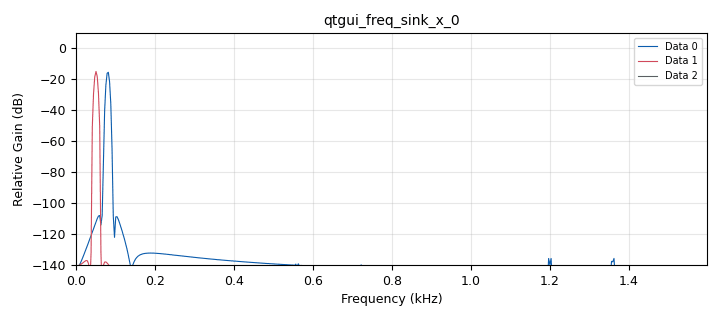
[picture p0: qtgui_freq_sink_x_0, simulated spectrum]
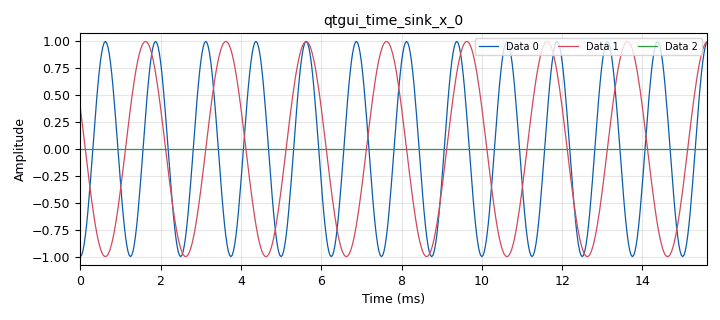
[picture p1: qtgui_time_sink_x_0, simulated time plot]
<?xml version='1.0' encoding='utf-8'?>
<?grc format='1' created='3.7.11'?>
<flow_graph>
<block>
<key>options</key>
<param><key>id</key><value>top_block</value></param>
<param><key>generate_options</key><value>qt_gui</value></param>
</block>
<block>
<key>variable_qtgui_range</key>
<param><key>id</key><value>audio_volume</value></param>
<param><key>value</key><value>0.0</value></param>
<param><key>orient</key><value>Qt.Horizontal</value></param>
<param><key>start</key><value>0.0</value></param>
<param><key>step</key><value>0.01</value></param>
<param><key>stop</key><value>1.0</value></param>
</block>
<block>
<key>variable_qtgui_check_box</key>
<param><key>id</key><value>enable_a</value></param>
<param><key>value</key><value>True</value></param>
<param><key>false</key><value>False</value></param>
<param><key>label</key><value>Enable freq A</value></param>
<param><key>true</key><value>True</value></param>
<param><key>type</key><value>bool</value></param>
</block>
<block>
<key>variable_qtgui_check_box</key>
<param><key>id</key><value>enable_b</value></param>
<param><key>value</key><value>True</value></param>
<param><key>false</key><value>False</value></param>
<param><key>label</key><value>Enable freq B</value></param>
<param><key>true</key><value>True</value></param>
<param><key>type</key><value>bool</value></param>
</block>
<block>
<key>variable_qtgui_check_box</key>
<param><key>id</key><value>enable_mix</value></param>
<param><key>value</key><value>0.0</value></param>
<param><key>false</key><value>0.0</value></param>
<param><key>label</key><value>Enable mixer output</value></param>
<param><key>true</key><value>1.0</value></param>
<param><key>type</key><value>real</value></param>
</block>
<block>
<key>variable_qtgui_range</key>
<param><key>id</key><value>freq_A</value></param>
<param><key>value</key><value>800</value></param>
<param><key>orient</key><value>Qt.Horizontal</value></param>
<param><key>start</key><value>10</value></param>
<param><key>step</key><value>10</value></param>
<param><key>stop</key><value>samp_rate / 2</value></param>
</block>
<block>
<key>variable_qtgui_range</key>
<param><key>id</key><value>freq_B</value></param>
<param><key>value</key><value>500</value></param>
<param><key>orient</key><value>Qt.Horizontal</value></param>
<param><key>start</key><value>10</value></param>
<param><key>step</key><value>10</value></param>
<param><key>stop</key><value>samp_rate / 2</value></param>
</block>
<block>
<key>variable</key>
<param><key>id</key><value>samp_rate</value></param>
<param><key>value</key><value>32000</value></param>
</block>
<block>
<key>analog_sig_source_x</key>
<param><key>id</key><value>analog_sig_source_x_0</value></param>
<param><key>amp</key><value>1</value></param>
<param><key>freq</key><value>freq_A</value></param>
<param><key>offset</key><value>0</value></param>
<param><key>type</key><value>float</value></param>
<param><key>samp_rate</key><value>samp_rate</value></param>
<param><key>waveform</key><value>analog.GR_COS_WAVE</value></param>
</block>
<block>
<key>analog_sig_source_x</key>
<param><key>id</key><value>analog_sig_source_x_0_0</value></param>
<param><key>amp</key><value>1</value></param>
<param><key>freq</key><value>freq_B</value></param>
<param><key>offset</key><value>0</value></param>
<param><key>type</key><value>float</value></param>
<param><key>samp_rate</key><value>samp_rate</value></param>
<param><key>waveform</key><value>analog.GR_COS_WAVE</value></param>
</block>
<block>
<key>audio_sink</key>
<param><key>id</key><value>audio_sink_0</value></param>
<param><key>samp_rate</key><value>samp_rate</value></param>
</block>
<block>
<key>blocks_multiply_const_vxx</key>
<param><key>id</key><value>blocks_multiply_const_vxx_0</value></param>
<param><key>const</key><value>enable_mix</value></param>
<param><key>type</key><value>float</value></param>
</block>
<block>
<key>blocks_multiply_const_vxx</key>
<param><key>id</key><value>blocks_multiply_const_vxx_0_0</value></param>
<param><key>const</key><value>enable_a</value></param>
<param><key>type</key><value>float</value></param>
</block>
<block>
<key>blocks_multiply_const_vxx</key>
<param><key>id</key><value>blocks_multiply_const_vxx_0_0_0</value></param>
<param><key>const</key><value>enable_b</value></param>
<param><key>type</key><value>float</value></param>
</block>
<block>
<key>blocks_multiply_const_vxx</key>
<param><key>id</key><value>blocks_multiply_const_vxx_0_1</value></param>
<param><key>const</key><value>audio_volume</value></param>
<param><key>type</key><value>float</value></param>
</block>
<block>
<key>blocks_multiply_xx</key>
<param><key>id</key><value>blocks_multiply_xx_0</value></param>
<param><key>type</key><value>float</value></param>
</block>
<block>
<key>qtgui_freq_sink_x</key>
<param><key>id</key><value>qtgui_freq_sink_x_0</value></param>
<param><key>bw</key><value>samp_rate / 10.0</value></param>
<param><key>fc</key><value>0</value></param>
<param><key>fftsize</key><value>1024</value></param>
<param><key>label2</key><value></value></param>
<param><key>label3</key><value></value></param>
<param><key>nconnections</key><value>3</value></param>
<param><key>showports</key><value>True</value></param>
<param><key>freqhalf</key><value>False</value></param>
<param><key>type</key><value>float</value></param>
<param><key>wintype</key><value>firdes.WIN_BLACKMAN_hARRIS</value></param>
</block>
<block>
<key>qtgui_time_sink_x</key>
<param><key>id</key><value>qtgui_time_sink_x_0</value></param>
<param><key>color1</key><value>"blue"</value></param>
<param><key>label1</key><value></value></param>
<param><key>color2</key><value>"red"</value></param>
<param><key>label2</key><value></value></param>
<param><key>color3</key><value>"green"</value></param>
<param><key>label3</key><value></value></param>
<param><key>nconnections</key><value>3</value></param>
<param><key>size</key><value>500</value></param>
<param><key>srate</key><value>samp_rate</value></param>
<param><key>type</key><value>float</value></param>
</block>
<connection><source_block_id>analog_sig_source_x_0</source_block_id><sink_block_id>blocks_multiply_const_vxx_0_0</sink_block_id><source_key>0</source_key><sink_key>0</sink_key></connection>
<connection><source_block_id>analog_sig_source_x_0_0</source_block_id><sink_block_id>blocks_multiply_const_vxx_0_0_0</sink_block_id><source_key>0</source_key><sink_key>0</sink_key></connection>
<connection><source_block_id>blocks_multiply_const_vxx_0</source_block_id><sink_block_id>blocks_multiply_const_vxx_0_1</sink_block_id><source_key>0</source_key><sink_key>0</sink_key></connection>
<connection><source_block_id>blocks_multiply_const_vxx_0</source_block_id><sink_block_id>qtgui_freq_sink_x_0</sink_block_id><source_key>0</source_key><sink_key>2</sink_key></connection>
<connection><source_block_id>blocks_multiply_const_vxx_0</source_block_id><sink_block_id>qtgui_time_sink_x_0</sink_block_id><source_key>0</source_key><sink_key>2</sink_key></connection>
<connection><source_block_id>blocks_multiply_const_vxx_0_0</source_block_id><sink_block_id>blocks_multiply_xx_0</sink_block_id><source_key>0</source_key><sink_key>0</sink_key></connection>
<connection><source_block_id>blocks_multiply_const_vxx_0_0</source_block_id><sink_block_id>qtgui_freq_sink_x_0</sink_block_id><source_key>0</source_key><sink_key>0</sink_key></connection>
<connection><source_block_id>blocks_multiply_const_vxx_0_0</source_block_id><sink_block_id>qtgui_time_sink_x_0</sink_block_id><source_key>0</source_key><sink_key>0</sink_key></connection>
<connection><source_block_id>blocks_multiply_const_vxx_0_0_0</source_block_id><sink_block_id>blocks_multiply_xx_0</sink_block_id><source_key>0</source_key><sink_key>1</sink_key></connection>
<connection><source_block_id>blocks_multiply_const_vxx_0_0_0</source_block_id><sink_block_id>qtgui_freq_sink_x_0</sink_block_id><source_key>0</source_key><sink_key>1</sink_key></connection>
<connection><source_block_id>blocks_multiply_const_vxx_0_0_0</source_block_id><sink_block_id>qtgui_time_sink_x_0</sink_block_id><source_key>0</source_key><sink_key>1</sink_key></connection>
<connection><source_block_id>blocks_multiply_const_vxx_0_1</source_block_id><sink_block_id>audio_sink_0</sink_block_id><source_key>0</source_key><sink_key>0</sink_key></connection>
<connection><source_block_id>blocks_multiply_xx_0</source_block_id><sink_block_id>blocks_multiply_const_vxx_0</sink_block_id><source_key>0</source_key><sink_key>0</sink_key></connection>
</flow_graph>
